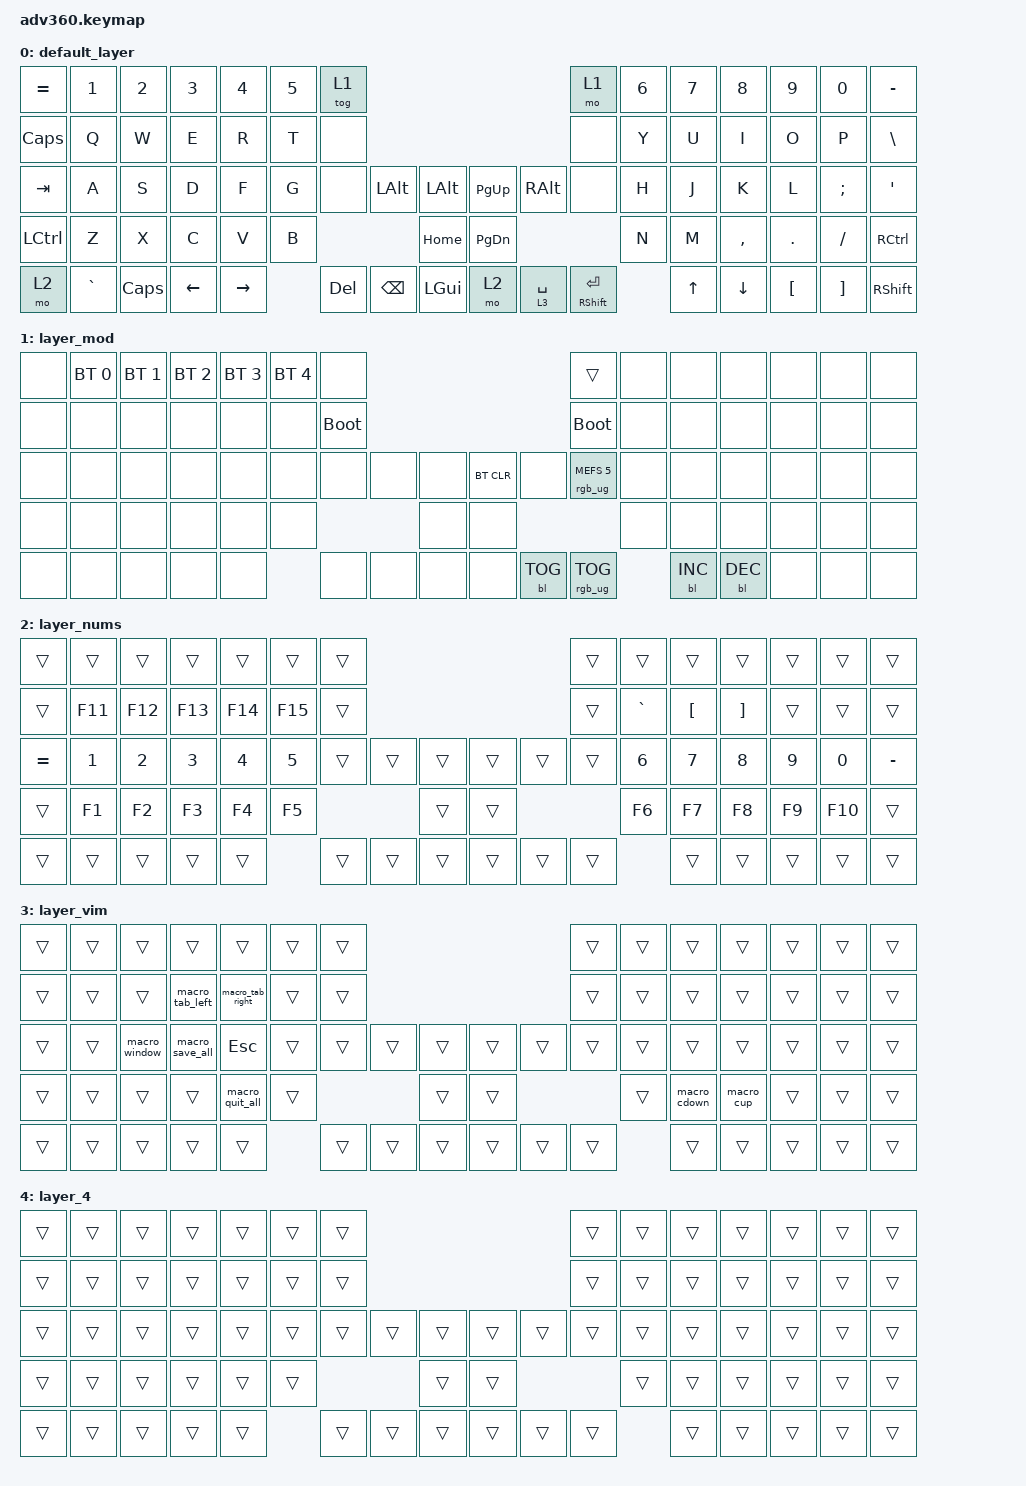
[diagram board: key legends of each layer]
/*
 * Copyright (c) 2020 The ZMK Contributors
 *
 * SPDX-License-Identifier: MIT
 */
/* THIS FILE WAS GENERATED!
 *
 * This file was generated automatically. You may or may not want to
 * edit it directly.
 */

#include <behaviors.dtsi>
#include <dt-bindings/zmk/backlight.h>
#include <dt-bindings/zmk/bt.h>
#include <dt-bindings/zmk/keys.h>
#include <dt-bindings/zmk/rgb.h>

/ {
    behaviors {
        #include "macros.dtsi"

        hm: homerow_mods {
            compatible = "zmk,behavior-hold-tap";
            label = "HOMEROW_MODS";
            #binding-cells = <2>;
            tapping-term-ms = <200>;
            quick_tap_ms = <175>;
            flavor = "tap-preferred";
            bindings = <&kp>, <&kp>;
        };
    };

    keymap {
        compatible = "zmk,keymap";

        default_layer {
            bindings = <
&kp EQUAL  &kp N1     &kp N2    &kp N3    &kp N4     &kp N5  &tog 1                                                                &mo 1             &kp N6  &kp N7  &kp N8     &kp N9    &kp N0    &kp MINUS
&kp CAPS   &kp Q      &kp W     &kp E     &kp R      &kp T   &none                                                                 &none             &kp Y   &kp U   &kp I      &kp O     &kp P     &kp BSLH
&kp TAB    &kp A      &kp S     &kp D     &kp F      &kp G   &none    &kp LEFT_ALT   &kp LALT          &kp PAGE_UP    &kp RALT     &none             &kp H   &kp J   &kp K      &kp L     &kp SEMI  &kp SQT
&kp LCTRL  &kp Z      &kp X     &kp C     &kp V      &kp B                           &kp HOME          &kp PAGE_DOWN                                 &kp N   &kp M   &kp COMMA  &kp DOT   &kp FSLH  &kp RCTRL
&mo 2      &kp GRAVE  &kp CAPS  &kp LEFT  &kp RIGHT          &kp DEL  &kp BACKSPACE  &kp LEFT_GUI      &mo 2          &lt 3 SPACE  &mt RSHIFT ENTER          &kp UP  &kp DOWN   &kp LBKT  &kp RBKT  &kp RSHIFT
            >;
        };

        layer_mod {
            bindings = <
&none  &bt BT_SEL 0  &bt BT_SEL 1  &bt BT_SEL 2  &bt BT_SEL 3  &bt BT_SEL 4  &none                                                  &trans                  &none  &none       &none       &none  &none  &none
&none  &none         &none         &none         &none         &none         &bootloader                                            &bootloader             &none  &none       &none       &none  &none  &none
&none  &none         &none         &none         &none         &none         &none        &none  &none      &bt BT_CLR  &none       &rgb_ug RGB_MEFS_CMD 5  &none  &none       &none       &none  &none  &none
&none  &none         &none         &none         &none         &none                             &none      &none                                           &none  &none       &none       &none  &none  &none
&none  &none         &none         &none         &none                       &none        &none  &none      &none       &bl BL_TOG  &rgb_ug RGB_TOG                &bl BL_INC  &bl BL_DEC  &none  &none  &none
            >;
        };

        layer_nums {
            bindings = <
&trans     &trans   &trans   &trans   &trans   &trans   &trans                                      &trans  &trans     &trans    &trans    &trans  &trans   &trans
&trans     &kp F11  &kp F12  &kp F13  &kp F14  &kp F15  &trans                                      &trans  &kp GRAVE  &kp LBKT  &kp RBKT  &trans  &trans   &trans
&kp EQUAL  &kp N1   &kp N2   &kp N3   &kp N4   &kp N5   &trans  &trans  &trans      &trans  &trans  &trans  &kp N6     &kp N7    &kp N8    &kp N9  &kp N0   &kp MINUS
&trans     &kp F1   &kp F2   &kp F3   &kp F4   &kp F5                   &trans      &trans                  &kp F6     &kp F7    &kp F8    &kp F9  &kp F10  &trans
&trans     &trans   &trans   &trans   &trans            &trans  &trans  &trans      &trans  &trans  &trans             &trans    &trans    &trans  &trans   &trans
            >;
        };

        layer_vim {
            bindings = <
&trans  &trans  &trans         &trans           &trans            &trans  &trans                                      &trans  &trans  &trans        &trans      &trans  &trans  &trans
&trans  &trans  &trans         &macro_tab_left  &macro_tab_right  &trans  &trans                                      &trans  &trans  &trans        &trans      &trans  &trans  &trans
&trans  &trans  &macro_window  &macro_save_all  &kp ESC           &trans  &trans  &trans  &trans      &trans  &trans  &trans  &trans  &trans        &trans      &trans  &trans  &trans
&trans  &trans  &trans         &trans           &macro_quit_all   &trans                  &trans      &trans                  &trans  &macro_cdown  &macro_cup  &trans  &trans  &trans
&trans  &trans  &trans         &trans           &trans                    &trans  &trans  &trans      &trans  &trans  &trans          &trans        &trans      &trans  &trans  &trans
            >;
        };

        layer_4 {
            bindings = <
&trans  &trans  &trans  &trans  &trans  &trans  &trans                                      &trans  &trans  &trans  &trans  &trans  &trans  &trans
&trans  &trans  &trans  &trans  &trans  &trans  &trans                                      &trans  &trans  &trans  &trans  &trans  &trans  &trans
&trans  &trans  &trans  &trans  &trans  &trans  &trans  &trans  &trans      &trans  &trans  &trans  &trans  &trans  &trans  &trans  &trans  &trans
&trans  &trans  &trans  &trans  &trans  &trans                  &trans      &trans                  &trans  &trans  &trans  &trans  &trans  &trans
&trans  &trans  &trans  &trans  &trans          &trans  &trans  &trans      &trans  &trans  &trans          &trans  &trans  &trans  &trans  &trans
            >;
        };
    };
};
